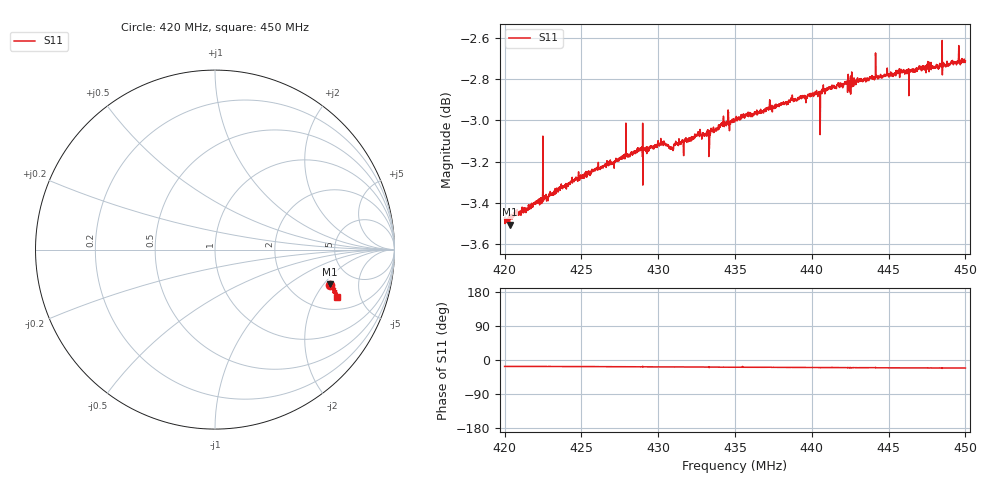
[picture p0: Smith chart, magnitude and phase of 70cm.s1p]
! Calibrated averaged scanner-service zoom
# Hz S RI R 50
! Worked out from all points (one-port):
!   3001 points, 420 MHz to 450 MHz, reference 50 ohm
!   lowest |S11| = -3.5 dB at 420.3 MHz (marker M1), VSWR 5.02, Z = 166 - j115 ohm
!   |S11| at or under -10 dB: nowhere
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4.2e8  0.641 -0.1964
4.2032e8  0.6394 -0.1928
4.2237e8  0.6475 -0.1982
4.2269e8  0.6488 -0.1989
4.2375e8  0.6517 -0.2015
4.275e8  0.6603 -0.2107
4.2884e8  0.6625 -0.2151
4.2915e8  0.6626 -0.2162
4.2982e8  0.6634 -0.2167
4.3046e8  0.6624 -0.2224
4.3085e8  0.6609 -0.2212
4.3125e8  0.6634 -0.2201
4.3262e8  0.6666 -0.2233
4.3327e8  0.6656 -0.2274
4.3412e8  0.668 -0.2302
4.35e8  0.6694 -0.2309
4.3534e8  0.6709 -0.2306
4.3569e8  0.6712 -0.2325
4.3716e8  0.672 -0.2365
4.3875e8  0.6751 -0.2401
4.4036e8  0.6761 -0.2446
4.4051e8  0.6765 -0.2434
4.4072e8  0.6764 -0.2451
4.4128e8  0.6779 -0.2465
4.425e8  0.6812 -0.2419
4.4407e8  0.6788 -0.2539
4.4625e8  0.6804 -0.2581
4.5e8  0.6825 -0.2643
